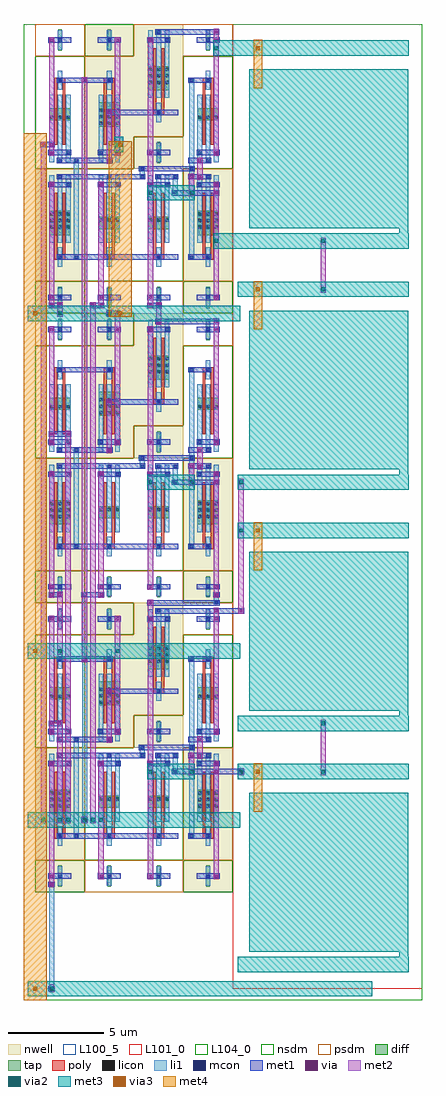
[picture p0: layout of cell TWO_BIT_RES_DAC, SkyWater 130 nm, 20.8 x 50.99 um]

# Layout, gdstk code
import gdstk
lib = gdstk.Library(unit=1e-6, precision=1e-09)
def R(c, l, rs):  # rectangles x0, y0, x1, y1
    for r in rs: c.add(gdstk.rectangle(r[:2], r[2:], *l))
def A(c, l, x, y, w, h, nx, ny, dx, dy):  # array of equal rectangles
    R(c, l, [(x+i*dx, y+j*dy, x+i*dx+w, y+j*dy+h) for i in range(nx) for j in range(ny)])
nwell = (64, 20)
diff = (65, 20)
tap = (65, 44)
poly = (66, 20)
licon = (66, 44)
li1 = (67, 20)
mcon = (67, 44)
met1 = (68, 20)
via = (68, 44)
met2 = (69, 20)
via2 = (69, 44)
met3 = (70, 20)
via3 = (70, 44)
met4 = (71, 20)
nsdm = (93, 44)
psdm = (94, 20)
L100_5 = (100, 5)
L101_0 = (101, 0)
L104_0 = (104, 0)

two_bit_res_dac = lib.new_cell('TWO_BIT_RES_DAC')
A(two_bit_res_dac, nwell, 0, 5.04, 2.58, 7.56, 1, 3, 0, 15.12)
A(two_bit_res_dac, nwell, 7.74, 5.04, 2.58, 7.56, 1, 3, 0, 15.12)
A(two_bit_res_dac, nwell, 2.58, 12.6, 2.58, 7.56, 1, 3, 0, 15.12)
A(two_bit_res_dac, nwell, 5.16, 12.6, 2.58, 7.56, 1, 3, 0, 15.12)
A(two_bit_res_dac, diff, 0.735, 9.135, 1.11, 1.26, 1, 3, 0, 15.12)
A(two_bit_res_dac, diff, 8.475, 9.135, 1.11, 1.26, 1, 3, 0, 15.12)
A(two_bit_res_dac, diff, 3.315, 9.45, 1.11, 0.63, 1, 3, 0, 15.12)
A(two_bit_res_dac, diff, 5.895, 9.45, 1.11, 0.63, 1, 3, 0, 15.12)
A(two_bit_res_dac, diff, 3.315, 14.805, 1.11, 1.26, 1, 3, 0, 15.12)
A(two_bit_res_dac, diff, 0.735, 15.12, 1.11, 0.63, 1, 3, 0, 15.12)
A(two_bit_res_dac, diff, 8.475, 15.12, 1.11, 0.63, 1, 3, 0, 15.12)
A(two_bit_res_dac, diff, 5.895, 16.695, 1.11, 1.26, 1, 3, 0, 15.12)
A(two_bit_res_dac, tap, 1.205, 5.32, 0.17, 1.12, 4, 3, 2.58, 15.12)
A(two_bit_res_dac, tap, 6.365, 12.88, 0.17, 1.12, 1, 3, 0, 15.12)
A(two_bit_res_dac, tap, 1.205, 18.76, 0.17, 1.12, 1, 3, 0, 15.12)
A(two_bit_res_dac, tap, 3.785, 18.76, 0.17, 1.12, 1, 3, 0, 15.12)
A(two_bit_res_dac, tap, 8.945, 18.76, 0.17, 1.12, 1, 3, 0, 15.12)
A(two_bit_res_dac, poly, 1, 7.845, 0.58, 0.27, 4, 3, 2.58, 15.12)
A(two_bit_res_dac, poly, 6.16, 7.98, 0.15, 3.36, 1, 6, 0, 7.56)
A(two_bit_res_dac, poly, 6.59, 7.98, 0.15, 3.36, 1, 6, 0, 7.56)
A(two_bit_res_dac, poly, 6.16, 15.405, 0.58, 0.27, 1, 3, 0, 15.12)
A(two_bit_res_dac, poly, 1, 17.085, 0.58, 0.27, 1, 3, 0, 15.12)
A(two_bit_res_dac, poly, 3.58, 17.085, 0.58, 0.27, 1, 3, 0, 15.12)
A(two_bit_res_dac, poly, 8.74, 17.085, 0.58, 0.27, 1, 3, 0, 15.12)
R(two_bit_res_dac, poly, [(1,7.98,1.15,11.34), (1.43,7.98,1.58,11.34), (3.58,7.98,3.73,11.34), (4.01,7.98,4.16,11.34), (8.74,7.98,8.89,11.34), (9.17,7.98,9.32,11.34), (1,13.86,1.15,17.22), (1.43,13.86,1.58,17.22), (3.58,13.86,3.73,17.22), (4.01,13.86,4.16,17.22), (8.74,13.86,8.89,17.22), (9.17,13.86,9.32,17.22), (1,23.1,1.15,26.46), (1.43,23.1,1.58,26.46), (3.58,23.1,3.73,26.46), (4.01,23.1,4.16,26.46), (8.74,23.1,8.89,26.46), (9.17,23.1,9.32,26.46), (1,28.98,1.15,32.34), (1.43,28.98,1.58,32.34), (3.58,28.98,3.73,32.34), (4.01,28.98,4.16,32.34), (8.74,28.98,8.89,32.34), (9.17,28.98,9.32,32.34), (1,38.22,1.15,41.58), (1.43,38.22,1.58,41.58), (3.58,38.22,3.73,41.58), (4.01,38.22,4.16,41.58), (8.74,38.22,8.89,41.58), (9.17,38.22,9.32,41.58), (1,44.1,1.15,47.46), (1.43,44.1,1.58,47.46), (3.58,44.1,3.73,47.46), (4.01,44.1,4.16,47.46), (8.74,44.1,8.89,47.46), (9.17,44.1,9.32,47.46)])
A(two_bit_res_dac, licon, 1.205, 5.795, 0.17, 0.17, 4, 2, 2.58, 2.1)
A(two_bit_res_dac, licon, 0.775, 9.465, 0.17, 0.17, 3, 3, 0.43, 0.34)
A(two_bit_res_dac, licon, 8.515, 9.465, 0.17, 0.17, 3, 3, 0.43, 0.34)
A(two_bit_res_dac, licon, 3.355, 9.83, 0.17, 0.17, 3, 2, 0.43, 5.055)
A(two_bit_res_dac, licon, 5.935, 9.83, 0.17, 0.17, 3, 2, 0.43, 7.195)
A(two_bit_res_dac, licon, 0.775, 15.2, 0.17, 0.17, 3, 2, 0.43, 9.385)
A(two_bit_res_dac, licon, 8.515, 15.2, 0.17, 0.17, 3, 2, 0.43, 9.385)
A(two_bit_res_dac, licon, 3.355, 15.225, 0.17, 0.17, 3, 2, 0.43, 0.34)
A(two_bit_res_dac, licon, 5.935, 17.365, 0.17, 0.17, 3, 2, 0.43, 0.34)
A(two_bit_res_dac, licon, 1.205, 20.915, 0.17, 0.17, 4, 2, 2.58, 2.1)
A(two_bit_res_dac, licon, 0.775, 24.925, 0.17, 0.17, 3, 2, 0.43, 0.34)
A(two_bit_res_dac, licon, 8.515, 24.925, 0.17, 0.17, 3, 2, 0.43, 0.34)
A(two_bit_res_dac, licon, 3.355, 24.95, 0.17, 0.17, 3, 2, 0.43, 5.055)
A(two_bit_res_dac, licon, 5.935, 24.95, 0.17, 0.17, 3, 2, 0.43, 7.195)
A(two_bit_res_dac, licon, 0.775, 30.32, 0.17, 0.17, 3, 2, 0.43, 9.385)
A(two_bit_res_dac, licon, 8.515, 30.32, 0.17, 0.17, 3, 2, 0.43, 9.385)
A(two_bit_res_dac, licon, 3.355, 30.345, 0.17, 0.17, 3, 2, 0.43, 0.34)
A(two_bit_res_dac, licon, 5.935, 32.485, 0.17, 0.17, 3, 2, 0.43, 0.34)
A(two_bit_res_dac, licon, 1.205, 36.035, 0.17, 0.17, 4, 2, 2.58, 2.1)
A(two_bit_res_dac, licon, 0.775, 40.045, 0.17, 0.17, 3, 2, 0.43, 0.34)
A(two_bit_res_dac, licon, 8.515, 40.045, 0.17, 0.17, 3, 2, 0.43, 0.34)
A(two_bit_res_dac, licon, 3.355, 40.07, 0.17, 0.17, 3, 2, 0.43, 5.055)
A(two_bit_res_dac, licon, 5.935, 40.07, 0.17, 0.17, 3, 2, 0.43, 7.195)
A(two_bit_res_dac, licon, 0.775, 45.44, 0.17, 0.17, 3, 1, 0.43, 0)
A(two_bit_res_dac, licon, 8.515, 45.44, 0.17, 0.17, 3, 1, 0.43, 0)
A(two_bit_res_dac, licon, 3.355, 45.465, 0.17, 0.17, 3, 2, 0.43, 0.34)
A(two_bit_res_dac, licon, 5.935, 47.605, 0.17, 0.17, 3, 2, 0.43, 0.34)
R(two_bit_res_dac, licon, [(6.365,13.355,6.535,13.525), (6.365,15.455,6.535,15.625), (1.205,17.135,1.375,17.305), (3.785,17.135,3.955,17.305), (8.945,17.135,9.115,17.305), (1.205,19.235,1.375,19.405), (3.785,19.235,3.955,19.405), (8.945,19.235,9.115,19.405), (6.365,28.475,6.535,28.645), (6.365,30.575,6.535,30.745), (1.205,32.255,1.375,32.425), (3.785,32.255,3.955,32.425), (8.945,32.255,9.115,32.425), (1.205,34.355,1.375,34.525), (3.785,34.355,3.955,34.525), (8.945,34.355,9.115,34.525), (6.365,43.595,6.535,43.765), (6.365,45.695,6.535,45.865), (1.205,47.375,1.375,47.545), (3.785,47.375,3.955,47.545), (8.945,47.375,9.115,47.545), (1.205,49.475,1.375,49.645), (3.785,49.475,3.955,49.645), (8.945,49.475,9.115,49.645)])
A(two_bit_res_dac, li1, 1.165, 5.375, 0.25, 1.01, 4, 2, 2.58, 2.1)
A(two_bit_res_dac, li1, 2.025, 7.895, 0.25, 5.21, 1, 3, 0, 15.12)
A(two_bit_res_dac, li1, 8.045, 7.895, 0.25, 9.41, 1, 3, 0, 15.12)
A(two_bit_res_dac, li1, 0.735, 8.735, 0.25, 3.53, 3, 2, 0.43, 4.2)
A(two_bit_res_dac, li1, 3.315, 8.735, 0.25, 3.53, 3, 2, 0.43, 4.2)
A(two_bit_res_dac, li1, 5.895, 8.735, 0.25, 3.53, 3, 6, 0.43, 7.56)
A(two_bit_res_dac, li1, 8.475, 8.735, 0.25, 3.53, 3, 2, 0.43, 4.2)
A(two_bit_res_dac, li1, 7.185, 11.255, 0.25, 1.01, 1, 3, 0, 15.12)
A(two_bit_res_dac, li1, 5.465, 12.095, 0.25, 0.59, 1, 3, 0, 15.12)
A(two_bit_res_dac, li1, 1.165, 20.495, 0.25, 1.01, 4, 2, 2.58, 2.1)
A(two_bit_res_dac, li1, 0.735, 23.855, 0.25, 3.53, 3, 2, 0.43, 4.2)
A(two_bit_res_dac, li1, 3.315, 23.855, 0.25, 3.53, 3, 2, 0.43, 4.2)
A(two_bit_res_dac, li1, 8.475, 23.855, 0.25, 3.53, 3, 2, 0.43, 4.2)
A(two_bit_res_dac, li1, 1.165, 35.615, 0.25, 1.01, 4, 2, 2.58, 2.1)
A(two_bit_res_dac, li1, 0.735, 38.975, 0.25, 3.53, 3, 2, 0.43, 4.2)
A(two_bit_res_dac, li1, 3.315, 38.975, 0.25, 3.53, 3, 2, 0.43, 4.2)
A(two_bit_res_dac, li1, 8.475, 38.975, 0.25, 3.53, 3, 2, 0.43, 4.2)
R(two_bit_res_dac, li1, [(0.735,-0.085,0.985,5.545), (2.455,8.735,2.705,20.665), (6.325,12.935,6.575,13.945), (6.325,15.035,6.575,16.045), (1.165,16.715,1.415,17.725), (3.745,16.715,3.995,17.725), (8.905,16.715,9.155,17.725), (1.165,18.815,1.415,19.825), (3.745,18.815,3.995,19.825), (8.905,18.815,9.155,19.825), (9.335,20.075,9.585,20.665), (6.325,28.055,6.575,29.065), (6.325,30.155,6.575,31.165), (1.165,31.835,1.415,32.845), (3.745,31.835,3.995,32.845), (8.905,31.835,9.155,32.845), (1.165,33.935,1.415,34.945), (3.745,33.935,3.995,34.945), (8.905,33.935,9.155,34.945), (6.325,43.175,6.575,44.185), (6.325,45.275,6.575,46.285), (1.165,46.955,1.415,47.965), (3.745,46.955,3.995,47.965), (8.905,46.955,9.155,47.965), (1.165,49.055,1.415,50.065), (3.745,49.055,3.995,50.065), (8.905,49.055,9.155,50.065)])
A(two_bit_res_dac, mcon, 1.205, 5.795, 0.17, 0.17, 4, 3, 2.58, 15.12)
A(two_bit_res_dac, mcon, 8.085, 7.895, 0.17, 0.17, 1, 3, 0, 4.62)
A(two_bit_res_dac, mcon, 7.225, 11.255, 0.17, 0.17, 1, 3, 0, 15.12)
A(two_bit_res_dac, mcon, 4.215, 11.675, 0.17, 0.17, 1, 3, 0, 15.12)
A(two_bit_res_dac, mcon, 5.935, 11.675, 0.17, 0.17, 1, 6, 0, 7.56)
A(two_bit_res_dac, mcon, 6.795, 11.675, 0.17, 0.17, 1, 6, 0, 7.56)
A(two_bit_res_dac, mcon, 8.515, 11.675, 0.17, 0.17, 1, 3, 0, 15.12)
A(two_bit_res_dac, mcon, 5.505, 12.095, 0.17, 0.17, 3, 3, 0.86, 15.12)
A(two_bit_res_dac, mcon, 5.505, 12.515, 0.17, 0.17, 1, 3, 0, 15.12)
A(two_bit_res_dac, mcon, 4.215, 13.355, 0.17, 0.17, 3, 3, 2.15, 15.12)
A(two_bit_res_dac, mcon, 8.085, 23.015, 0.17, 0.17, 1, 3, 0, 4.62)
A(two_bit_res_dac, mcon, 8.085, 38.135, 0.17, 0.17, 1, 3, 0, 4.62)
R(two_bit_res_dac, mcon, [(0.775,-0.085,0.945,0.085), (0.775,5.375,0.945,5.545), (1.205,7.895,1.375,8.065), (2.065,7.895,2.235,8.065), (3.785,7.895,3.955,8.065), (6.365,7.895,6.535,8.065), (8.945,7.895,9.115,8.065), (2.495,8.735,2.665,8.905), (0.775,11.675,0.945,11.845), (1.635,11.675,1.805,11.845), (3.355,11.675,3.525,11.845), (9.375,11.675,9.545,11.845), (1.205,12.095,1.375,12.265), (3.785,12.095,3.955,12.265), (8.945,12.095,9.115,12.265), (1.205,12.935,1.375,13.105), (2.065,12.935,2.235,13.105), (3.785,12.935,3.955,13.105), (8.945,12.935,9.115,13.105), (0.775,13.355,0.945,13.525), (1.635,13.355,1.805,13.525), (3.355,13.355,3.525,13.525), (9.375,13.355,9.545,13.525), (6.365,15.455,6.535,15.625), (1.205,17.135,1.375,17.305), (3.785,17.135,3.955,17.305), (8.945,17.135,9.115,17.305), (1.205,19.235,1.375,19.405), (3.785,19.235,3.955,19.405), (8.945,19.235,9.115,19.405), (6.365,19.655,6.535,19.825), (9.375,20.075,9.545,20.245), (2.495,20.495,2.665,20.665), (9.375,20.495,9.545,20.665), (1.205,23.015,1.375,23.185), (2.065,23.015,2.235,23.185), (3.785,23.015,3.955,23.185), (6.365,23.015,6.535,23.185), (8.945,23.015,9.115,23.185), (0.775,26.795,0.945,26.965), (1.635,26.795,1.805,26.965), (3.355,26.795,3.525,26.965), (9.375,26.795,9.545,26.965), (1.205,27.215,1.375,27.385), (3.785,27.215,3.955,27.385), (8.945,27.215,9.115,27.385), (1.205,28.055,1.375,28.225), (2.065,28.055,2.235,28.225), (3.785,28.055,3.955,28.225), (8.945,28.055,9.115,28.225), (0.775,28.475,0.945,28.645), (1.635,28.475,1.805,28.645), (3.355,28.475,3.525,28.645), (9.375,28.475,9.545,28.645), (6.365,30.575,6.535,30.745), (1.205,32.255,1.375,32.425), (3.785,32.255,3.955,32.425), (8.945,32.255,9.115,32.425), (1.205,34.355,1.375,34.525), (3.785,34.355,3.955,34.525), (8.945,34.355,9.115,34.525), (6.365,34.775,6.535,34.945), (1.205,38.135,1.375,38.305), (2.065,38.135,2.235,38.305), (3.785,38.135,3.955,38.305), (6.365,38.135,6.535,38.305), (8.945,38.135,9.115,38.305), (0.775,41.915,0.945,42.085), (1.635,41.915,1.805,42.085), (3.355,41.915,3.525,42.085), (9.375,41.915,9.545,42.085), (1.205,42.335,1.375,42.505), (3.785,42.335,3.955,42.505), (8.945,42.335,9.115,42.505), (1.205,43.175,1.375,43.345), (2.065,43.175,2.235,43.345), (3.785,43.175,3.955,43.345), (8.945,43.175,9.115,43.345), (0.775,43.595,0.945,43.765), (1.635,43.595,1.805,43.765), (3.355,43.595,3.525,43.765), (9.375,43.595,9.545,43.765), (6.365,45.695,6.535,45.865), (1.205,47.375,1.375,47.545), (3.785,47.375,3.955,47.545), (8.945,47.375,9.115,47.545), (1.205,49.475,1.375,49.645), (3.785,49.475,3.955,49.645), (8.945,49.475,9.115,49.645), (6.365,49.895,6.535,50.065)])
A(two_bit_res_dac, met1, 0.69, 5.74, 1.2, 0.28, 4, 2, 2.58, 5.88)
A(two_bit_res_dac, met1, 1.12, 7.84, 6.36, 0.28, 1, 3, 0, 15.12)
A(two_bit_res_dac, met1, 1.12, 12.04, 4.64, 0.28, 1, 3, 0, 15.12)
A(two_bit_res_dac, met1, 6.28, 12.04, 1.2, 0.28, 1, 3, 0, 15.12)
A(two_bit_res_dac, met1, 5.42, 12.46, 2.92, 0.28, 1, 3, 0, 15.12)
A(two_bit_res_dac, met1, 0.69, 13.3, 1.2, 0.28, 4, 2, 2.58, 5.88)
A(two_bit_res_dac, met1, 3.71, 15.4, 3.77, 0.28, 1, 3, 0, 15.12)
A(two_bit_res_dac, met1, 0.69, 20.86, 1.2, 0.28, 4, 2, 2.58, 5.88)
A(two_bit_res_dac, met1, 0.69, 28.42, 1.2, 0.28, 4, 2, 2.58, 5.88)
A(two_bit_res_dac, met1, 0.69, 35.98, 1.2, 0.28, 4, 2, 2.58, 5.88)
A(two_bit_res_dac, met1, 0.69, 43.54, 1.2, 0.28, 4, 2, 2.58, 5.88)
R(two_bit_res_dac, met1, [(0.69,-0.14,1.03,0.14), (0.69,5.32,1.03,5.6), (8,7.84,9.2,8.12), (2.41,8.68,2.75,8.96), (7.14,11.2,10.91,11.48), (8,12.04,9.2,12.32), (1.12,12.88,4.04,13.16), (8,12.88,9.2,13.16), (0.7,13.72,1.45,14), (1.12,17.08,4.04,17.36), (8,17.08,9.2,17.36), (6.28,19.6,10.91,19.88), (5.86,20.02,9.63,20.3), (0.7,20.44,1.45,20.72), (2.41,20.44,3.6,20.72), (9.29,20.44,9.63,20.72), (8,22.96,9.2,23.24), (7.14,26.32,9.62,26.6), (8,27.16,9.2,27.44), (1.12,28,4.04,28.28), (8,28,9.2,28.28), (0.7,28.84,1.88,29.12), (1.12,32.2,4.04,32.48), (8,32.2,9.2,32.48), (6.28,34.72,9.62,35), (3.71,35.14,4.46,35.42), (0.7,35.56,1.45,35.84), (2.85,35.56,3.6,35.84), (5.86,35.56,6.61,35.84), (8,38.08,9.2,38.36), (7.14,41.44,9.62,41.72), (8,42.28,9.2,42.56), (1.12,43.12,4.04,43.4), (8,43.12,9.2,43.4), (0.27,43.96,1.02,44.24), (1.12,47.32,4.04,47.6), (8,47.32,9.2,47.6), (6.28,49.84,9.62,50.12)])
A(two_bit_res_dac, via, 0.785, 5.805, 0.15, 0.15, 3, 2, 2.58, 5.88)
A(two_bit_res_dac, via, 8.095, 12.105, 0.15, 0.15, 1, 3, 0, 15.12)
A(two_bit_res_dac, via, 0.785, 20.925, 0.15, 0.15, 3, 2, 2.58, 5.88)
A(two_bit_res_dac, via, 0.785, 36.045, 0.15, 0.15, 3, 2, 2.58, 5.88)
R(two_bit_res_dac, via, [(0.785,-0.075,0.935,0.075), (0.785,5.385,0.935,5.535), (9.385,5.805,9.535,5.955), (2.505,8.745,2.655,8.895), (9.385,11.265,9.535,11.415), (10.675,11.265,10.825,11.415), (9.385,11.685,9.535,11.835), (8.525,12.105,8.675,12.255), (3.795,12.945,3.945,13.095), (8.525,12.945,8.675,13.095), (0.785,13.365,0.935,13.515), (4.225,13.365,4.375,13.515), (5.945,13.365,6.095,13.515), (9.385,13.365,9.535,13.515), (0.785,13.785,0.935,13.935), (1.215,13.785,1.365,13.935), (3.795,15.465,3.945,15.615), (2.505,17.145,2.655,17.295), (0.785,19.245,0.935,19.395), (4.225,19.245,4.375,19.395), (5.945,19.245,6.095,19.395), (9.385,19.245,9.535,19.395), (9.385,19.665,9.535,19.815), (10.675,19.665,10.825,19.815), (5.945,20.085,6.095,20.235), (0.785,20.505,0.935,20.655), (1.215,20.505,1.365,20.655), (3.365,20.505,3.515,20.655), (9.385,20.505,9.535,20.655), (9.385,20.925,9.535,21.075), (9.385,26.385,9.535,26.535), (9.385,26.805,9.535,26.955), (8.525,27.225,8.675,27.375), (3.795,28.065,3.945,28.215), (8.525,28.065,8.675,28.215), (0.785,28.485,0.935,28.635), (4.225,28.485,4.375,28.635), (5.945,28.485,6.095,28.635), (9.385,28.485,9.535,28.635), (0.785,28.905,0.935,29.055), (1.645,28.905,1.795,29.055), (3.795,30.585,3.945,30.735), (0.785,34.365,0.935,34.515), (4.225,34.365,4.375,34.515), (5.945,34.365,6.095,34.515), (9.385,34.365,9.535,34.515), (6.375,34.785,6.525,34.935), (9.385,34.785,9.535,34.935), (3.795,35.205,3.945,35.355), (4.225,35.205,4.375,35.355), (0.785,35.625,0.935,35.775), (1.215,35.625,1.365,35.775), (2.935,35.625,3.085,35.775), (3.365,35.625,3.515,35.775), (5.945,35.625,6.095,35.775), (6.375,35.625,6.525,35.775), (9.385,36.045,9.535,36.195), (9.385,41.505,9.535,41.655), (9.385,41.925,9.535,42.075), (8.525,42.345,8.675,42.495), (3.795,43.185,3.945,43.335), (8.525,43.185,8.675,43.335), (0.785,43.605,0.935,43.755), (4.225,43.605,4.375,43.755), (5.945,43.605,6.095,43.755), (9.385,43.605,9.535,43.755), (0.355,44.025,0.505,44.175), (0.785,44.025,0.935,44.175), (3.795,45.705,3.945,45.855), (2.505,47.385,2.655,47.535), (0.785,49.485,0.935,49.635), (4.225,49.485,4.375,49.635), (5.945,49.485,6.095,49.635), (9.385,49.485,9.535,49.635), (9.385,49.905,9.535,50.055)])
A(two_bit_res_dac, met2, 0.72, 5.3, 0.28, 6.62, 1, 3, 0, 15.12)
A(two_bit_res_dac, met2, 8.03, 11.155, 0.28, 1.185, 1, 3, 0, 15.12)
A(two_bit_res_dac, met2, 8.46, 12.02, 0.28, 1.16, 1, 3, 0, 15.12)
A(two_bit_res_dac, met2, 3.73, 12.86, 0.28, 2.84, 1, 3, 0, 15.12)
A(two_bit_res_dac, met2, 0.72, 13.28, 0.28, 6.2, 1, 3, 0, 15.12)
R(two_bit_res_dac, met2, [(0.72,-0.185,1,0.242), (3.3,5.72,3.58,11.92), (5.88,5.72,6.16,20.32), (9.32,5.72,9.6,11.92), (0.29,8.635,0.57,44.26), (1.15,8.635,1.43,14.02), (1.58,8.635,1.86,29.14), (2.44,8.635,2.72,9.005), (2.87,8.635,3.15,35.86), (10.61,11.155,10.89,11.525), (14.91,11.155,15.19,14.045), (4.16,13.28,4.44,19.48), (9.32,13.28,9.6,19.9), (2.44,17.06,2.72,47.62), (1.15,17.455,1.43,20.74), (10.61,19.58,10.89,26.645), (3.3,20.42,3.58,27.04), (9.32,20.42,9.6,27.04), (5.88,20.84,6.16,34.6), (4.16,28.4,4.44,35.44), (9.32,28.4,9.6,35.02), (6.31,34.7,6.59,35.86), (1.15,35.095,1.43,35.86), (3.73,35.095,4.01,35.465), (3.3,35.54,3.58,42.16), (5.88,35.54,6.16,49.72), (9.32,35.96,9.6,42.16), (14.91,36.355,15.19,39.245), (4.16,43.52,4.44,49.72), (9.32,43.52,9.6,50.14)])
A(two_bit_res_dac, via2, 2.48, 8.72, 0.2, 0.2, 3, 1, 0.43, 0)
A(two_bit_res_dac, via2, 5.92, 11.24, 0.2, 0.2, 1, 3, 0, 15.12)
A(two_bit_res_dac, via2, 8.07, 11.24, 0.2, 0.2, 1, 3, 0, 15.12)
R(two_bit_res_dac, via2, [(0.76,-0.1,0.96,0.1), (0.33,8.72,0.53,8.92), (1.19,8.72,1.39,8.92), (1.62,8.72,1.82,8.92), (10.65,11.24,10.85,11.44), (14.95,11.24,15.15,11.44), (14.95,13.76,15.15,13.96), (1.19,17.54,1.39,17.74), (4.2,17.54,4.4,17.74), (10.65,23.84,10.85,24.04), (10.65,26.36,10.85,26.56), (1.19,35.18,1.39,35.38), (3.77,35.18,3.97,35.38), (14.95,36.44,15.15,36.64), (9.36,38.96,9.56,39.16), (14.95,38.96,15.15,39.16), (4.2,44,4.4,44.2), (9.36,49.04,9.56,49.24)])
A(two_bit_res_dac, met3, 19.03, 1.46, 0.45, 2.52, 1, 4, 0, 12.6)
A(two_bit_res_dac, met3, 11.18, 1.93, 8.3, 8.3, 1, 4, 0, 12.6)
A(two_bit_res_dac, met3, 5.855, 10.94, 2.48, 0.8, 1, 3, 0, 15.12)
R(two_bit_res_dac, met3, [(-0.4,-0.4,17.6,0.4), (10.585,0.86,19.515,1.66), (-0.4,8.42,10.72,9.22), (10.585,10.94,19.515,11.74), (10.585,13.46,19.515,14.26), (-0.4,17.24,10.72,18.04), (10.585,23.54,19.515,24.34), (10.585,26.06,19.515,26.86), (-0.4,34.88,10.72,35.68), (10.585,36.14,19.515,36.94), (9.295,38.66,19.515,39.46), (4.135,43.7,4.605,44.5), (9.295,48.74,19.515,49.54)])
A(two_bit_res_dac, via3, -0.1, -0.1, 0.2, 0.2, 1, 3, 0, 17.64)
A(two_bit_res_dac, via3, 11.53, 11.24, 0.2, 0.2, 1, 4, 0, 12.6)
R(two_bit_res_dac, via3, [(4.34,35.18,4.54,35.38), (4.34,44,4.54,44.2)])
A(two_bit_res_dac, met4, 11.405, 9.25, 0.45, 2.52, 1, 4, 0, 12.6)
R(two_bit_res_dac, met4, [(-0.59,-0.59,0.59,44.69), (3.85,35.115,5.03,44.265)])
A(two_bit_res_dac, nsdm, 0, 5.04, 2.58, 1.68, 1, 3, 0, 15.12)
A(two_bit_res_dac, nsdm, 7.74, 5.04, 2.58, 1.68, 1, 3, 0, 15.12)
A(two_bit_res_dac, nsdm, 2.58, 6.72, 2.58, 5.88, 1, 3, 0, 15.12)
A(two_bit_res_dac, nsdm, 5.16, 6.72, 2.58, 5.88, 1, 3, 0, 15.12)
A(two_bit_res_dac, nsdm, 0, 12.6, 2.58, 5.88, 1, 3, 0, 15.12)
A(two_bit_res_dac, nsdm, 5.16, 12.6, 2.58, 1.68, 1, 3, 0, 15.12)
A(two_bit_res_dac, nsdm, 7.74, 12.6, 2.58, 5.88, 1, 3, 0, 15.12)
A(two_bit_res_dac, nsdm, 2.58, 18.48, 2.58, 1.68, 1, 3, 0, 15.12)
A(two_bit_res_dac, psdm, 2.58, 5.04, 2.58, 1.68, 1, 3, 0, 15.12)
A(two_bit_res_dac, psdm, 5.16, 5.04, 2.58, 1.68, 1, 3, 0, 15.12)
A(two_bit_res_dac, psdm, 0, 6.72, 2.58, 5.88, 1, 3, 0, 15.12)
A(two_bit_res_dac, psdm, 7.74, 6.72, 2.58, 5.88, 1, 3, 0, 15.12)
A(two_bit_res_dac, psdm, 2.58, 12.6, 2.58, 5.88, 1, 3, 0, 15.12)
A(two_bit_res_dac, psdm, 5.16, 14.28, 2.58, 5.88, 1, 3, 0, 15.12)
A(two_bit_res_dac, psdm, 0, 18.48, 2.58, 1.68, 1, 3, 0, 15.12)
A(two_bit_res_dac, psdm, 7.74, 18.48, 2.58, 1.68, 1, 3, 0, 15.12)
R(two_bit_res_dac, L100_5, [(-0.59,-0.59,20.21,50.4)])
A(two_bit_res_dac, L101_0, 10.32, 0, 9.89, 12.6, 1, 4, 0, 12.6)
R(two_bit_res_dac, L104_0, [(-0.59,-0.59,20.21,50.4)])

lib.write_gds('TWO_BIT_RES_DAC.gds')
